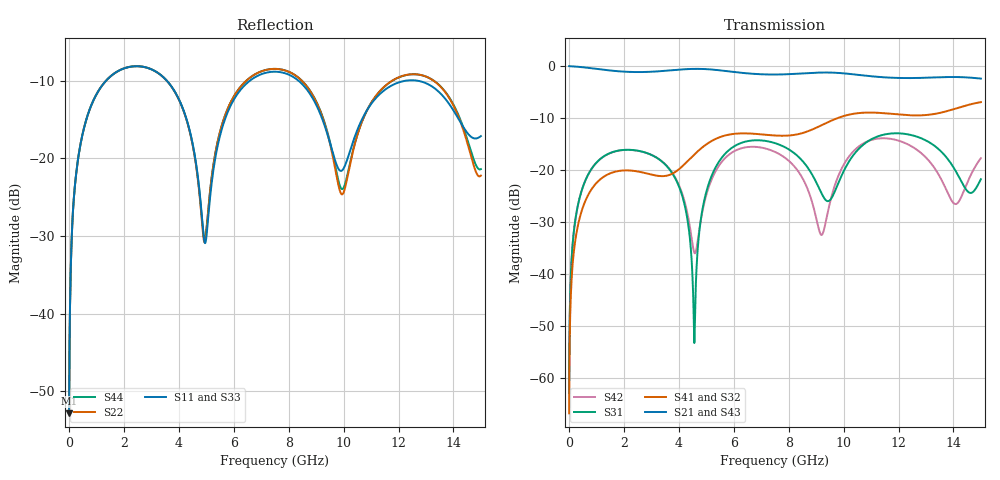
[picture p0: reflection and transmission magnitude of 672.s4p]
! Created with skrf 1.8.0 (http://scikit-rf.org).
# GHz S RI R 50.0
!freq ReS11 ImS11 ReS12 ImS12 ReS13 ImS13
! ReS14 ImS14
! ReS21 ImS21 ReS22 ImS22 ReS23 ImS23
! ReS24 ImS24
! ReS31 ImS31 ReS32 ImS32 ReS33 ImS33
! ReS34 ImS34
! ReS41 ImS41 ReS42 ImS42 ReS43 ImS43
! ReS44 ImS44
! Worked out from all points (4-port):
!   2499 points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, 5 MHz to 15 GHz, reference 50 ohm
!   strongest paths, dB at 5 MHz, 3.476 GHz, 7.19 GHz, 11.1 GHz, 15 GHz:
!     S21: 0.0, -0.9, -1.6, -2.0, -2.4
!     S43: 0.0, -0.9, -1.6, -2.0, -2.4
!     S41: -66.7, -21.1, -13.2, -8.9, -6.9
!     S32: -66.7, -21.2, -13.3, -9.0, -6.9
!     S31: -62.8, -18.8, -14.4, -13.8, -21.7
!     S42: -62.8, -18.7, -15.9, -14.1, -17.7
!   lowest |S11| = -52.9 dB at 5 MHz (marker M1), VSWR 1.00, Z = 50.2 + j0.138 ohm
!   |S11| at or under -10 dB: 3.566 GHz to 6.583 GHz (3.017 GHz wide, 59.5 % of centre); 8.361 GHz to 12.24 GHz (3.882 GHz wide, 37.7 % of centre); 12.71 GHz to end of sweep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
0.005  0.00181 0.00138  0.9982 -0.00353  9.17e-05 0.000722  -8.9e-05 -0.000452
       0.9982 -0.00353  0.00181 0.00138  -8.9e-05 -0.000452  9.16e-05 0.000722
       9.17e-05 0.000722  -8.9e-05 -0.000452  0.00181 0.00138  0.9982 -0.00353
       -8.9e-05 -0.000452  9.16e-05 0.000722  0.9982 -0.00353  0.00181 0.00138
0.3626511  0.0358 0.1019  0.9505 -0.2509  0.0173 0.0479  -0.0143 -0.0292
           0.9505 -0.2509  0.0358 0.1019  -0.0143 -0.0292  0.0172 0.048
           0.0173 0.0479  -0.0143 -0.0292  0.0358 0.1019  0.9505 -0.2509
           -0.0143 -0.0292  0.0172 0.048  0.9505 -0.2509  0.0358 0.1019
1.875782  0.3533 0.116  0.3224 -0.8281  0.1534 0.0245  -0.0937 0.0313
          0.3224 -0.8281  0.3537 0.1156  -0.0935 0.031  0.1529 0.0258
          0.1534 0.0245  -0.0935 0.031  0.3535 0.1159  0.3223 -0.8281
          -0.0937 0.0313  0.1529 0.0258  0.3223 -0.8281  0.3537 0.1157
4.558149  0.0522 -0.0975  -0.8884 -0.3073  0.00222 -0.000845  -0.0405 0.1349
          -0.8884 -0.3073  0.0512 -0.095  -0.0428 0.1342  -0.0151 -0.00603
          0.00222 -0.000845  -0.0428 0.1342  0.0512 -0.0984  -0.8884 -0.3073
          -0.0405 0.1349  -0.0151 -0.00603  -0.8884 -0.3073  0.0527 -0.0952
5.789912  0.1333 0.1499  -0.7896 0.4144  0.1279 0.0839  0.1325 0.1739
          -0.7896 0.4144  0.1423 0.1558  0.1295 0.1757  0.094 0.1016
          0.1279 0.0839  0.1295 0.1757  0.1324 0.1506  -0.7895 0.4147
          0.1325 0.1739  0.094 0.1016  -0.7895 0.4147  0.1432 0.1544
9.991663  0.0848 0.0113  0.8473 0.0915  -0.000355 0.0963  0.0201 -0.3298
          0.8473 0.0915  0.0596 0.005  0.0306 -0.3295  0.00975 0.1108
          -0.000355 0.0963  0.0306 -0.3295  0.0806 0.0111  0.8474 0.0902
          0.0201 -0.3298  0.00975 0.1108  0.8474 0.0902  0.0642 0.0029
15  0.1387 0.0113  -0.7458 -0.1383  -0.00253 0.0819  -0.0579 0.4467
    -0.7458 -0.1383  0.0772 0.00503  -0.0793 0.4445  -0.00838 0.1301
    -0.00253 0.0819  -0.0793 0.4445  0.1318 0.0103  -0.7466 -0.134
    -0.0579 0.4467  -0.00838 0.1301  -0.7466 -0.134  0.0852 -0.000203
